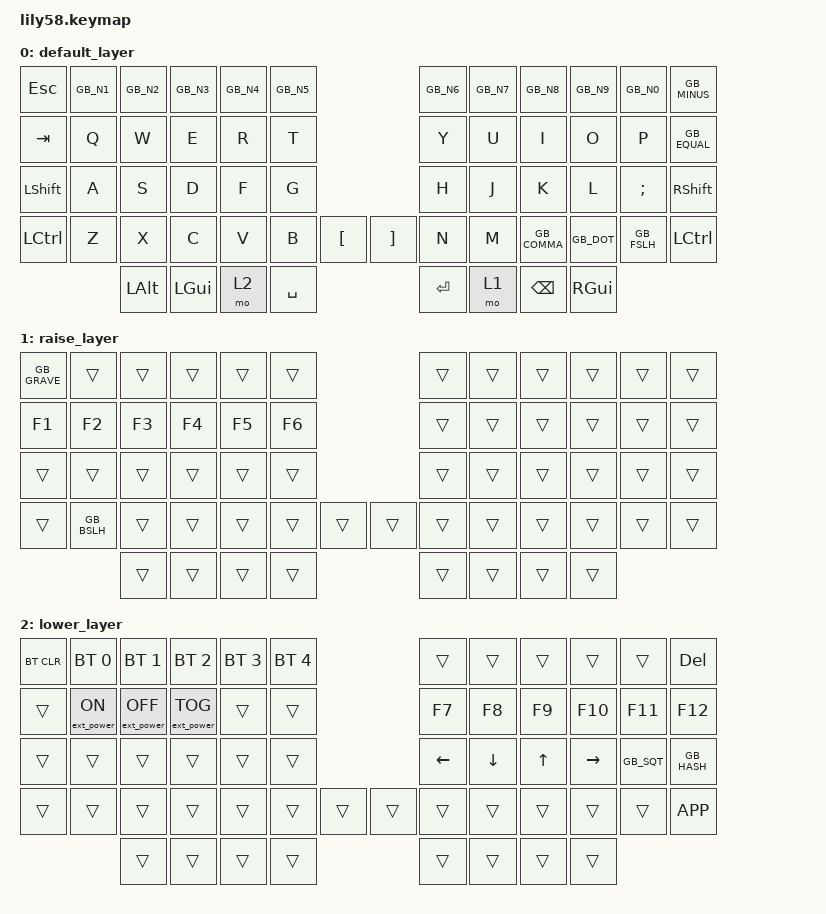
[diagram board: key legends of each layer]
/*
 * Copyright (c) 2020 The ZMK Contributors
 *
 * SPDX-License-Identifier: MIT
 */

#include <behaviors.dtsi>
#include <dt-bindings/zmk/bt.h>
#include <dt-bindings/zmk/ext_power.h>
#include <dt-bindings/zmk/keys.h>
#include "keys_en_gb.h"

&nice_view_spi { cs-gpios = <&pro_micro 4 GPIO_ACTIVE_HIGH>; };

/ {
    keymap {
        compatible = "zmk,keymap";

        default_layer {
            // ------------------------------------------------------------------------------------------------------------
            // |  ESC  |  1  |  2  |  3   |  4   |  5   |                   |  6   |  7    |  8    |  9   |   0   |   -   |
            // |  TAB  |  Q  |  W  |  E   |  R   |  T   |                   |  Y   |  U    |  I    |  O   |   P   |   =   |
            // |  CTRL |  A  |  S  |  D   |  F   |  G   |                   |  H   |  J    |  K    |  L   |   ;   | SHIFT |
            // | SHIFT |  Z  |  X  |  C   |  V   |  B   |   "["  |  |  "]"  |  N   |  M    |  ,    |  .   |   /   |  CTRL |
            //                     | ALT  | GUI  | LOWER|  SPACE |  | ENTER | RAISE| BSPC  | GUI   |

            bindings = <
&kp ESC     &kp GB_N1   &kp GB_N2   &kp GB_N3   &kp GB_N4   &kp GB_N5                       &kp GB_N6    &kp GB_N7   &kp GB_N8      &kp GB_N9       &kp GB_N0   &kp GB_MINUS
&kp TAB     &kp Q       &kp W       &kp E       &kp R       &kp T                           &kp Y        &kp U       &kp I          &kp O           &kp P       &kp GB_EQUAL
&kp LSHIFT  &kp A       &kp S       &kp D       &kp F       &kp G                           &kp H        &kp J       &kp K          &kp L           &kp SEMI    &kp RSHIFT
&kp LCTRL   &kp Z       &kp X       &kp C       &kp V       &kp B   &kp LBKT    &kp RBKT    &kp N        &kp M       &kp GB_COMMA   &kp GB_DOT      &kp GB_FSLH &kp LCTRL
                        &kp LALT    &kp LGUI    &mo 2       &kp SPACE                       &kp RET      &mo 1       &kp BSPC       &kp RGUI
            >;
        };

        raise_layer {
            // ------------------------------------------------------------------------------------------------------------
            // |   `   |     |     |      |      |      |                   |      |       |       |      |       |       |
            // |   F1  |  F2 |  F3 |  F4  |  F5  |  F6  |                   |      |       |       |      |       |       |
            // |       |     |     |      |      |      |                   |      |       |       |      |       |       |
            // |       |  \  |     |      |      |      |        |  |       |      |       |       |      |       |       |
            //                     |      |      |      |        |  |       |      |       |       |

            bindings = <
&kp GB_GRAVE    &trans      &trans  &trans  &trans  &trans                          &trans  &trans  &trans  &trans    &trans    &trans
&kp F1          &kp F2      &kp F3  &kp F4  &kp F5  &kp F6                          &trans  &trans  &trans  &trans    &trans    &trans
&trans          &trans      &trans  &trans  &trans  &trans                          &trans  &trans  &trans  &trans    &trans    &trans
&trans          &kp GB_BSLH &trans  &trans  &trans  &trans      &trans  &trans      &trans  &trans  &trans  &trans    &trans    &trans
                            &trans  &trans  &trans  &trans                          &trans  &trans  &trans  &trans
            >;
        };

        lower_layer {
            // ------------------------------------------------------------------------------------------------------------
            // | BTCLR |  BT0  |   BT1  |   BT2  |  BT3  |  BT4  |                   |      |       |       |      |       |  DEL  |
            // |       | EP_ON | EP_OFF | EP_TOG |       |       |                   |  F7  |  F8   |  F9   |  F10 |  F11  |  F12  |
            // |       |       |        |        |       |       |                   |  <-  |   v   |   ^   |  ->  |   '   |   #   |
            // |       |       |        |        |       |       |        |  |       |      |       |       |      |       |  APP  |
            //                 |        |        |       |       |        |  |       |      |       |       |

            bindings = <
&bt BT_CLR  &bt BT_SEL 0        &bt BT_SEL 1        &bt BT_SEL 2        &bt BT_SEL 3    &bt BT_SEL 4                        &trans      &trans      &trans      &trans      &trans      &kp DEL
&trans      &ext_power EP_ON    &ext_power EP_OFF   &ext_power EP_TOG   &trans          &trans                              &kp F7      &kp F8      &kp F9      &kp F10     &kp F11     &kp F12            
&trans      &trans              &trans              &trans              &trans          &trans                              &kp LEFT    &kp DOWN    &kp UP      &kp RIGHT   &kp GB_SQT  &kp GB_HASH
&trans      &trans              &trans              &trans              &trans          &trans          &trans  &trans      &trans      &trans      &trans      &trans      &trans      &kp K_APP
                                &trans              &trans              &trans          &trans                              &trans      &trans      &trans      &trans
            >;
        };

    };
};
